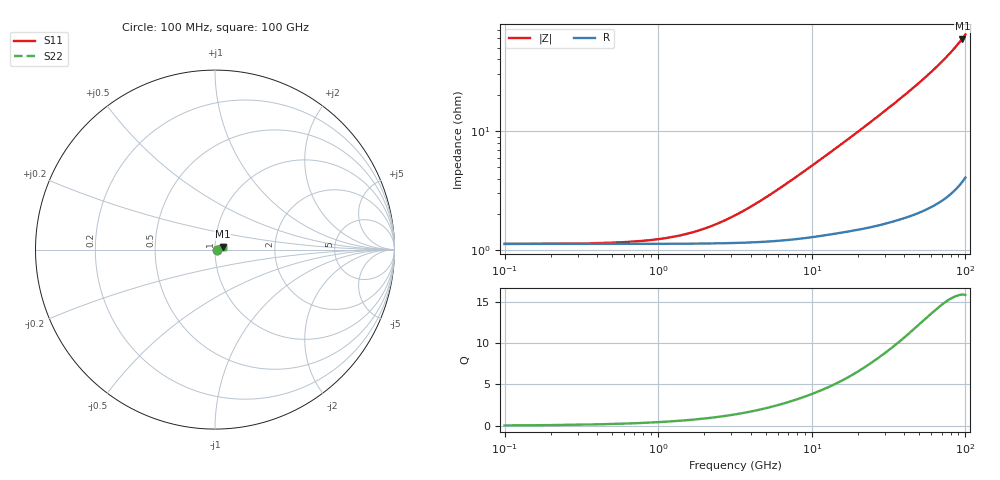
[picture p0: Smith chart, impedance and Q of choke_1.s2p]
#  Hz  S  RI  R  50
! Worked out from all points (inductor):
!   1000 points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, 100 MHz to 100 GHz, reference 50 ohm
!   read as 1/Y11, port 2 shorted: L = 78.6 pH near 7.5 GHz
!   highest Q = 15.9 at 95.6 GHz (marker M1), where L = 99.2 pH
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1e8  0.0112 7.52e-05  0.9888 -0.00091  0.9889 -0.000911  0.0112 7.38e-05
1e9  0.0112 0.000751  0.9888 -0.00909  0.9888 -0.0091  0.0113 0.000737
1.9e9  0.0113 0.00142  0.9886 -0.0173  0.9886 -0.0173  0.0113 0.00139
2.9e9  0.0114 0.00215  0.9883 -0.0263  0.9883 -0.0264  0.0114 0.00211
3.9e9  0.0116 0.00285  0.9879 -0.0354  0.9879 -0.0354  0.0116 0.0028
5.6e9  0.012 0.00398  0.9869 -0.0507  0.9869 -0.0507  0.012 0.00392
9.3e9  0.013 0.0061  0.9839 -0.0835  0.9839 -0.0835  0.013 0.00604
1.15e10  0.0137 0.00717  0.9816 -0.1028  0.9816 -0.1028  0.0137 0.00711
1.41e10  0.0145 0.00829  0.9785 -0.1254  0.9785 -0.1254  0.0145 0.00822
1.68e10  0.0154 0.00934  0.9747 -0.1488  0.9747 -0.1487  0.0154 0.00926
2.04e10  0.0165 0.0106  0.969 -0.1797  0.969 -0.1797  0.0165 0.0105
2.45e10  0.0178 0.012  0.9612 -0.2146  0.9612 -0.2146  0.0178 0.0118
2.89e10  0.0193 0.0132  0.9516 -0.2516  0.9516 -0.2517  0.0192 0.0131
3.34e10  0.0208 0.0144  0.9403 -0.289  0.9402 -0.289  0.0208 0.0142
4.13e10  0.0236 0.016  0.917 -0.3533  0.917 -0.3533  0.0236 0.0158
5.01e10  0.0269 0.0174  0.8862 -0.4227  0.8862 -0.4227  0.0268 0.0171
5.81e10  0.0299 0.0181  0.8537 -0.4835  0.8536 -0.4835  0.0299 0.0178
6.67e10  0.0332 0.0185  0.8142 -0.5461  0.8142 -0.5461  0.0331 0.0182
7.5e10  0.0363 0.0184  0.7718 -0.6035  0.7718 -0.6035  0.0363 0.018
8.34e10  0.0395 0.0179  0.7248 -0.6583  0.7249 -0.6582  0.0395 0.0175
9.56e10  0.0439 0.0165  0.6501 -0.7312  0.6499 -0.7313  0.0439 0.0159
1e11  0.0455 0.0157  0.6212 -0.7557  0.6209 -0.7555  0.0455 0.0152
